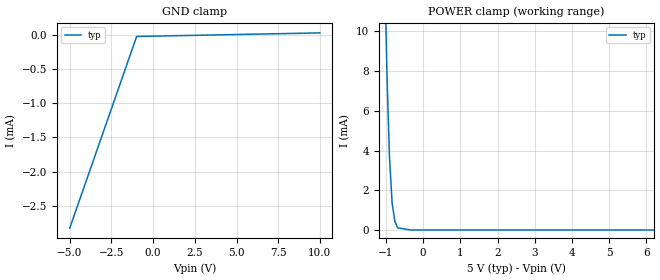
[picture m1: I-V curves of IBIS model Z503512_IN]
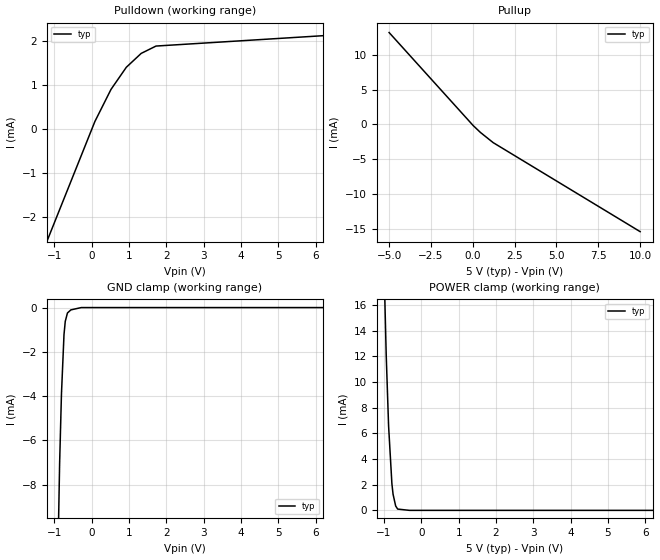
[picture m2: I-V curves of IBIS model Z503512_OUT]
| YOU ARE ONLY AUTHORIZED TO USE THIS SOFTWARE
| ACCORDING TO LICENSOR'S LICENSE RESTRICTIONS.
[IBIS Ver] 3.1
[File Name] mc14028bcl.ibs
[File Rev] 2.0
[Source] Measured and created by ICX Technology
[Date] Friday 7/14/00 9:07:52 AM
[Copyright]
| (C) COPYRIGHT 1993-2000
| MENTOR GRAPHICS CORPORATION
| ICX STANDARD LIBRARY, ICX PROJECT MODELING,
| ICX CUSTOM MODELING, ICX VENDOR MODEL
| ALL RIGHTS RESERVED.
| THE FOLLOWING ARE TRADEMARKS OR SERVICE MARKS OF
| MENTOR GRAPHICS CORPORATION:ICX (R), ICX STANDARD
| LIBRARY(R), ICX PROJECT MODELING(R), ICX CUSTOM
| MODELING(R), qualityIBIS(TM), MODELVIEWER(TM),
| AND MODELEDITOR(TM)
| ALL COPIES OF SOFTWARE, INCLUDING BUT NOT LIMITED TO
| ANY MODIFICATIONS, ENHANCEMENTS OR DERIVATIVE WORKS,
| MUST CONTAIN ALL MENTOR GRAPHICS CORPORATION'S
| NOTICES AND LEGENDS, INCLUDING THOSE EMBEDDED IN
| SOFTWARE AND THOSE AFFIXED TO SOFTWARE MEDIUM
| AND CONTAINER, AS RECEIVED FROM MENTOR GRAPHICS
| CORPORATION.
|  ZAP Model Builder 2.7
[Component] MC14028BCL
[Manufacturer] OnSemiconductor
[Package]
| variable   typ   min   max
R_pkg  .212ohms NA NA
L_pkg  4.758nH NA NA
C_pkg  1.944pF NA NA
[Pin] signal_name  model_name  R_pin  L_pin C_pin
1 Q4 Z503512_OUT .224 7.258n 2.683p
2 Q2 Z503512_OUT .216 5.258n 2.19p
3 Q0 Z503512_OUT .208 3.758n 1.697p
4 Q7 Z503512_OUT .2 2.758n 1.204p
5 Q9 Z503512_OUT .2 2.758n 1.204p
6 Q5 Z503512_OUT .208 3.758n 1.697p
7 Q6 Z503512_OUT .216 5.258n 2.19p
8 VSS GND .224 7.258n 2.683p
9 Q8 Z503512_OUT .224 7.258n 2.683p
10 A Z503512_IN .216 5.258n 2.19p
11 D Z503512_IN .208 3.758n 1.697p
12 C Z503512_IN .2 2.758n 1.204p
13 B Z503512_IN .2 2.758n 1.204p
14 Q1 Z503512_OUT .208 3.758n 1.697p
15 Q3 Z503512_OUT .216 5.258n 2.19p
16 VDD POWER .224 7.258n 2.683p
| Models and submodels in the file (2): Z503512_IN (Input), Z503512_OUT (Output)
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| (C) COPYRIGHT 1993-2000
| MENTOR GRAPHICS CORPORATION
| ICX STANDARD LIBRARY, ICX PROJECT MODELING,
| ICX CUSTOM MODELING, ICX VENDOR MODEL
| ALL RIGHTS RESERVED.
| THE FOLLOWING ARE TRADEMARKS OR SERVICE MARKS OF
| MENTOR GRAPHICS CORPORATION:ICX (R), ICX STANDARD
| LIBRARY(R), ICX PROJECT MODELING(R), ICX CUSTOM
| MODELING(R), qualityIBIS(TM), MODELVIEWER(TM),
| AND MODELEDITOR(TM)
| ALL COPIES OF SOFTWARE, INCLUDING BUT NOT LIMITED TO
| ANY MODIFICATIONS, ENHANCEMENTS OR DERIVATIVE WORKS,
| MUST CONTAIN ALL MENTOR GRAPHICS CORPORATION'S
| NOTICES AND LEGENDS, INCLUDING THOSE EMBEDDED IN
| SOFTWARE AND THOSE AFFIXED TO SOFTWARE MEDIUM
| AND CONTAINER, AS RECEIVED FROM MENTOR GRAPHICS
| CORPORATION.
| Model Application Version 1.89 2/18/99.
[Model] Z503512_IN
Model_type Input
Vinl = 1.500V
Vinh = 3.500V
C_comp 4.000pF NA NA
| variable typ   min   max
[Voltage Range] 5.000V NA NA
[GND Clamp Reference] 0.000V NA NA
[POWER Clamp Reference] 5.000V NA NA
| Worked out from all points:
|   POWER clamp passes 1 mA (typ) near -0.81 V on its own axis
[GND Clamp]
-5V       -2.828mA   NA         NA
-986.5mV  -26.71uA   NA         NA
10V       25.51uA    NA         NA
[POWER Clamp]
-5V       622mA      NA         NA
-1.162V   28.51mA    NA         NA
-1.024V   12.25mA    NA         NA
-972mV    7.708mA    NA         NA
-908mV    3.767mA    NA         NA
-835mV    1.357mA    NA         NA
-762mV    439.1uA    NA         NA
-688mV    108.1uA    NA         NA
-344mV    0A         NA         NA
10V       0A         NA         NA
| (C) COPYRIGHT 1993-2000
| MENTOR GRAPHICS CORPORATION
| ICX STANDARD LIBRARY, ICX PROJECT MODELING,
| ICX CUSTOM MODELING, ICX VENDOR MODEL
| ALL RIGHTS RESERVED.
| THE FOLLOWING ARE TRADEMARKS OR SERVICE MARKS OF
| MENTOR GRAPHICS CORPORATION:ICX (R), ICX STANDARD
| LIBRARY(R), ICX PROJECT MODELING(R), ICX CUSTOM
| MODELING(R), qualityIBIS(TM), MODELVIEWER(TM),
| AND MODELEDITOR(TM)
| ALL COPIES OF SOFTWARE, INCLUDING BUT NOT LIMITED TO
| ANY MODIFICATIONS, ENHANCEMENTS OR DERIVATIVE WORKS,
| MUST CONTAIN ALL MENTOR GRAPHICS CORPORATION'S
| NOTICES AND LEGENDS, INCLUDING THOSE EMBEDDED IN
| SOFTWARE AND THOSE AFFIXED TO SOFTWARE MEDIUM
| AND CONTAINER, AS RECEIVED FROM MENTOR GRAPHICS
| CORPORATION.
| Model Application Version 1.89 2/18/99.
[Model] Z503512_OUT
Model_type Output
Vref=0.000V
Rref=500.0Mohms
Cref=50.00pF
Vmeas=2.500V
C_comp 8.000pF NA NA
| variable typ   min   max
[Voltage Range] 5.000V NA NA
[POWER Clamp Reference] 5.000V NA NA
[Pullup Reference] 5.000V NA NA
[Pulldown Reference] 0.000V NA NA
[GND Clamp Reference] 0.000V NA NA
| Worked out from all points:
|   slope of the pulldown table from 0 to 0.75 V, typ, clamps not added: 626 ohm
|   slope of the pullup table from 0 to 0.75 V, typ, clamps not added: 466 ohm
|   GND clamp passes 1 mA (typ) near -0.73 V on its own axis
|   POWER clamp passes 1 mA (typ) near -0.74 V on its own axis
[GND Clamp]
-5V       -386.3mA   NA         NA
-859.2mV  -7.049mA   NA         NA
-810.2mV  -3.922mA   NA         NA
-741.8mV  -1.22mA    NA         NA
-708mV    -624.3uA   NA         NA
-649.4mV  -244.8uA   NA         NA
-556.6mV  -103.8uA   NA         NA
-278.3mV  0A         NA         NA
10V       0A         NA         NA
[Pulldown]
-5V       -10.62mA   NA         NA
86.59mV   176.5uA    NA         NA
517.5mV   905.6uA    NA         NA
928.4mV   1.41mA     NA         NA
1.327V    1.726mA    NA         NA
1.724V    1.893mA    NA         NA
10V       2.329mA    NA         NA
[Pullup]
-5V       13.16mA    NA         NA
24mV      -155.8uA   NA         NA
454mV     -1.136mA   NA         NA
1.217V    -2.597mA   NA         NA
10V       -15.34mA   NA         NA
[POWER Clamp]
-5V       493.8mA    NA         NA
-942mV    12.16mA    NA         NA
-878mV    6.607mA    NA         NA
-789mV    2.078mA    NA         NA
-758mV    1.26mA     NA         NA
-688mV    338.8uA    NA         NA
-634mV    99.92uA    NA         NA
-317mV    0A         NA         NA
10V       0A         NA         NA
[Ramp]
| variable typ min max
dV/dt_r 2.549/20.85n NA NA
dV/dt_f 2.549/20.40n NA NA
R_load = 2.500kOhms
